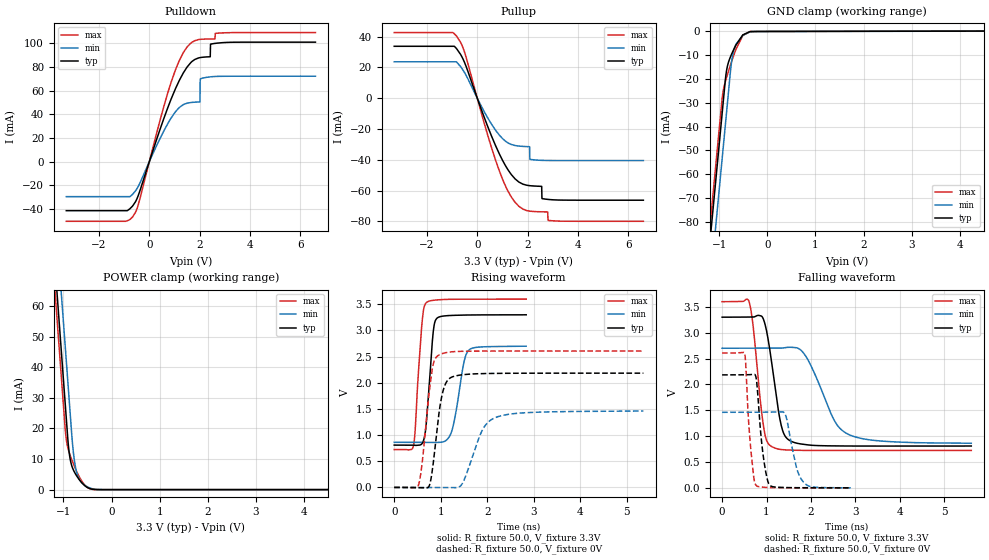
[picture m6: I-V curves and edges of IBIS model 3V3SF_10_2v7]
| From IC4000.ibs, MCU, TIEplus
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[Model] 3V3SF_10_2v7
Model_type I/O
Polarity   Non-Inverting
Enable   Active-Low
| CAP_THRESHOLD on pad IO is "CMOS" :
| Rising=10.0% of vdde3v3   Falling=90.0% of vdde3v3
| C_comp min and max val. don't necessarily correlate with the min and max pvt
| but are the smallest and greatest pad capacitance found.
| var   typ   min   max
C_comp   1.26795pF  1.18790pF  1.31090pF
Vinl = 675.0mV
Vinh = 2.25V
Vmeas = 1.65V   | Reference voltage for timing measurements
Cref  = 15.0pF   | Timing specification test load capacitance value
Rref  = 1.0MOhm   | Timing specification test load resistance value
Vref  = 3.3V   | Timing specification test load voltage
[Model Spec]
| TIME_THRESHOLD on pin ZI is "CORE" :
| Rising=50.0% of vdd   Falling=50.0% of vdd
Vinl 825.00000mV 675.00000mV 900.00000mV
Vinh 2.06250V 1.68750V 2.25000V
Vmeas 1.65000V 1.35000V 1.80000V
Vref 3.30000V 2.70000V 3.60000V
| variable   typ   min   max
[Temperature Range] 25.0 125.0 -40.0
| variable   typ   min   max
[Voltage Range] 3.3V 2.7V 3.6V
| variable   typ   min   max
[POWER Clamp Reference] 3.3V 2.7V 3.6V
| variable   typ   min   max
[GND Clamp Reference] 0V 0V 0V
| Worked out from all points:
|   slope of the pulldown table from 0 to 0.495 V, typ, clamps not added: 15.7 ohm
|   slope of the pullup table from 0 to 0.495 V, typ, clamps not added: 22.8 ohm
|   GND clamp passes 1 mA (typ) near -0.46 V on its own axis
|   POWER clamp passes 1 mA (typ) near -0.53 V on its own axis
|   rising waveform, R_fixture 50.0, V_fixture 3.3V: 20-80 % time 123ps typ, 204ps min, 122ps max; typ from 0.809 V to 3.3 V
|   falling waveform, R_fixture 50.0, V_fixture 3.3V: 20-80 % time 256ps typ, 562ps min, 203ps max; typ from 3.3 V to 0.809 V
|   rising waveform, R_fixture 50.0, V_fixture 0V: 20-80 % time 188ps typ, 376ps min, 183ps max; typ from 0 V to 2.18 V
|   falling waveform, R_fixture 50.0, V_fixture 0V: 20-80 % time 149ps typ, 220ps min, 122ps max; typ from 2.18 V to 0 V
[POWER Clamp]
-3.3V     524.6mA    543.4mA    516.1mA
-1.18V    74.13mA    92.92mA    65.73mA
-1.13V    63.5mA     82.3mA     55.11mA
-1.08V    52.88mA    71.67mA    44.49mA
-1.02V    40.13mA    58.93mA    31.74mA
-950mV    25.26mA    44.05mA    17.6mA
-900mV    14.93mA    33.43mA    13.17mA
-860mV    9.966mA    24.93mA    11.19mA
-800mV    6.661mA    13.12mA    8.673mA
-730mV    4.611mA    5.939mA    6.078mA
-460mV    377.7uA    598.1uA    338.7uA
6.6V      0A         0A         0A
[GND Clamp]
-3.3V     -535.9mA   -554.9mA   -529.5mA
-1.29V    -108.7mA   -127.8mA   -102.4mA
-1.13V    -74.74mA   -93.8mA    -68.39mA
-980mV    -42.86mA   -61.92mA   -36.51mA
-940mV    -34.36mA   -53.42mA   -28.08mA
-870mV    -19.62mA   -38.55mA   -20.84mA
-840mV    -15.5mA    -32.17mA   -18.78mA
-750mV    -9.826mA   -13.7mA    -13.06mA
-690mV    -7.205mA   -7.371mA   -9.546mA
-510mV    -1.433mA   -1.699mA   -1.633mA
-360mV    -54.77uA   -166.3uA   -42.24uA
6.6V      207.7uA    166.8uA    268.6uA
| variable   typ   min   max
[Pullup Reference] 3.3V 2.7V 3.6V
| variable   typ   min   max
[Pulldown Reference] 0V 0V 0V
[Pullup]
-3.3V     33.71mA    23.63mA    42.63mA
-820mV    32.13mA    23.52mA    40.3mA
-490mV    22.58mA    16.21mA    29.14mA
880mV     -36.28mA   -24.03mA   -47.35mA
1.65V     -54.46mA   -31.12mA   -70.18mA
2.08V     -56.83mA   -31.54mA   -73.39mA
2.1V      -56.87mA   -39.77mA   -73.43mA
2.56V     -57.29mA   -40.39mA   -73.82mA
2.58V     -65.28mA   -40.4mA    -73.83mA
2.8V      -65.75mA   -40.48mA   -73.9mA
2.82V     -65.78mA   -40.48mA   -79.42mA
6.6V      -66.28mA   -40.54mA   -79.99mA
[Pulldown]
-3.3V     -41.49mA   -29.63mA   -50.48mA
-670mV    -37.68mA   -27.73mA   -46.92mA
-430mV    -28.08mA   -20.54mA   -35.73mA
880mV     53.64mA    37.35mA    68.04mA
1.67V     84.2mA     50.02mA    100.6mA
2.01V     87.93mA    50.5mA     103.3mA
2.02V     87.97mA    68.44mA    103.4mA
2.12V     88.28mA    70.63mA    103.5mA
2.42V     88.69mA    71.69mA    103.7mA
2.43V     99.17mA    71.71mA    103.7mA
2.63V     100mA      72.01mA    108.5mA
6.6V      101mA      72.22mA    109.1mA
[Ramp]
dV/dt_r 1.3099V/188.25171ps 876.03737mV/376.35625ps 1.5632V/183.30229ps
dV/dt_f 1.49389V/256.0841ps 1.10217V/561.72092ps 1.72452V/202.50135ps
R_load = 50.0
| Removed startup time: 0s 0s 0s  .
| Removed end time: 2.82ns.
[Rising Waveform]
R_fixture   = 50.0
V_fixture   = 3.3V
V_fixture_min = 2.7V
V_fixture_max = 3.6V
0s        808.7mV    861.9mV    724mV
410ps     808mV      861.9mV    780mV
450ps     804.2mV    861.9mV    1.075V
590ps     827.9mV    861.9mV    3.062V
680ps     1.133V     861.9mV    3.522V
830ps     2.89V      858.5mV    3.575V
910ps     3.225V     859.8mV    3.583V
1.23ns    3.287V     1.053V     3.595V
1.6ns     3.295V     2.618V     3.597V
2.84ns    3.299V     2.699V     3.598V
| Removed startup time: 0s 0s 0s  .
| Removed end time: 5.59ns.
[Falling Waveform]
R_fixture   = 50.0
V_fixture   = 3.3V
V_fixture_min = 2.7V
V_fixture_max = 3.6V
0s        3.299V     2.699V     3.598V
610ps     3.302V     2.699V     3.591V
930ps     3.26V      2.699V     1.202V
1.11ns    2.457V     2.7V       800.7mV
1.34ns    1.176V     2.701V     740.1mV
1.58ns    890.3mV    2.715V     728.4mV
1.89ns    835.1mV    2.537V     723.4mV
2.52ns    810.8mV    1.312V     722.4mV
2.81ns    808.9mV    1.049V     722.7mV
5.61ns    808.7mV    861.9mV    724mV
| Removed startup time: 0s 0s 0s  .
| Removed end time: 5.34ns.
[Rising Waveform]
R_fixture   = 50.0
V_fixture   = 0V
V_fixture_min = 0V
V_fixture_max = 0V
0s        118.5uV    97.08uV    137.3uV
520ps     -4.522mV   160.1uV    39.01mV
770ps     73.97mV    -576.7uV   1.938V
850ps     536.9mV    -2.117mV   2.39V
970ps     1.462V     -2.156mV   2.534V
1.2ns     2.09V      -4.462mV   2.588V
1.46ns    2.152V     66.05mV    2.601V
1.89ns    2.175V     1.084V     2.605V
2.2ns     2.179V     1.343V     2.606V
5.36ns    2.183V     1.46V      2.605V
| Removed startup time: 0s 0s 0s  .
| Removed end time: 2.88ns.
[Falling Waveform]
R_fixture   = 50.0
V_fixture   = 0V
V_fixture_min = 0V
V_fixture_max = 0V
0s        2.183V     1.46V      2.605V
510ps     2.185V     1.46V      2.589V
630ps     2.188V     1.461V     894mV
770ps     2.105V     1.462V     44.11mV
920ps     653.7mV    1.462V     12.7mV
1.07ns    54.57mV    1.464V     6.523mV
1.42ns    5.985mV    1.423V     2.094mV
1.68ns    3.311mV    376.5mV    683.3uV
1.86ns    2.368mV    87.05mV    346.6uV
2.9ns     118.5uV    96.68uV    137.4uV
